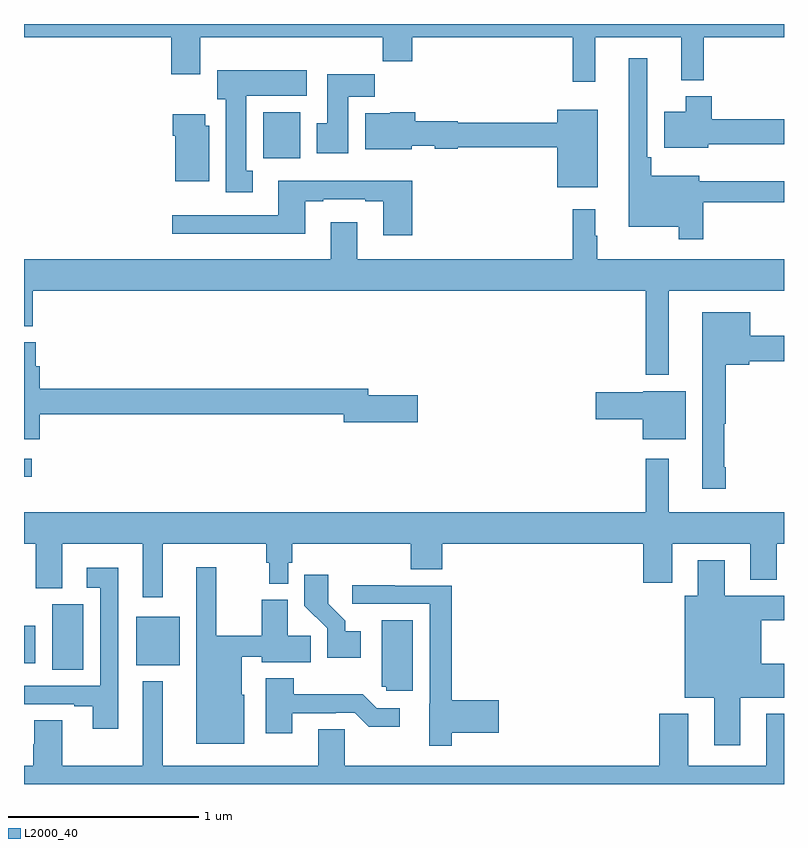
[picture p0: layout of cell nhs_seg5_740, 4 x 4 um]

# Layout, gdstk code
import gdstk
lib = gdstk.Library(unit=1e-6, precision=1e-09)
def R(c, l, rs):  # rectangles x0, y0, x1, y1
    for r in rs: c.add(gdstk.rectangle(r[:2], r[2:], *l))
def P(c, l, *ps):  # polygons
    for p in ps: c.add(gdstk.Polygon(p, *l))
L2000_40 = (2000, 40)

nhs_seg5_740 = lib.new_cell('nhs_seg5_740')
R(nhs_seg5_740, L2000_40, [(157.148,885.4,157.312,885.744), (157.592,885.425,157.819,885.679), (157,885.435,157.06,885.631), (157,886.416,157.042,886.512), (158.258,888.092,158.455,888.334)])
P(nhs_seg5_740, L2000_40, [(160.007,888.728),(160.46,888.728),(160.46,888.503),(160.577,888.503),(160.577,888.728),(161,888.728),(161,888.799),(157,888.799),(157,888.728),(157.775,888.728),(157.775,888.534),(157.927,888.534),(157.927,888.728),(158.887,888.728),(158.887,888.604),(159.044,888.604),(159.044,888.728),(159.889,888.728),(159.889,888.495),(160.007,888.495)],
  [(160.574,887.862),(161,887.862),(161,887.972),(160.555,887.972),(160.555,888.001),(160.301,888.001),(160.301,888.097),(160.281,888.097),(160.281,888.619),(160.184,888.619),(160.184,887.732),(160.446,887.732),(160.446,887.667),(160.574,887.667)],
  [(158.203,888.026),(158.17,888.026),(158.17,888.422),(158.488,888.422),(158.488,888.556),(158.018,888.556),(158.018,888.402),(158.063,888.402),(158.063,887.913),(158.203,887.913)],
  [(158.707,888.416),(158.846,888.416),(158.846,888.535),(158.597,888.535),(158.597,888.276),(158.54,888.276),(158.54,888.12),(158.707,888.12)],
  [(160.602,888.167),(161,888.167),(161,888.297),(160.619,888.297),(160.619,888.418),(160.484,888.418),(160.484,888.337),(160.37,888.337),(160.37,888.149),(160.602,888.149)],
  [(160.021,888.349),(159.806,888.349),(159.806,888.28),(159.282,888.28),(159.282,888.288),(159.059,888.288),(159.059,888.334),(158.928,888.334),(158.928,888.328),(158.795,888.328),(158.795,888.14),(159.042,888.14),(159.042,888.158),(159.162,888.158),(159.162,888.143),(159.282,888.143),(159.282,888.151),(159.806,888.151),(159.806,887.939),(160.021,887.939)],
  [(157.975,888.264),(157.954,888.264),(157.954,888.325),(157.784,888.325),(157.784,888.212),(157.796,888.212),(157.796,887.972),(157.975,887.972)],
  [(159.044,887.974),(158.339,887.974),(158.339,887.793),(157.779,887.793),(157.779,887.696),(158.479,887.696),(158.479,887.865),(158.575,887.865),(158.575,887.877),(158.795,887.877),(158.795,887.865),(158.891,887.865),(158.891,887.688),(159.044,887.688)],
  [(160.393,887.396),(161,887.396),(161,887.56),(160.018,887.56),(160.018,887.684),(160.006,887.684),(160.006,887.824),(159.889,887.824),(159.889,887.56),(158.755,887.56),(158.755,887.755),(158.615,887.755),(158.615,887.56),(157,887.56),(157,887.209),(157.046,887.209),(157.046,887.396),(160.272,887.396),(160.272,886.952),(160.393,886.952)],
  [(160.693,886.465),(160.685,886.465),(160.685,886.694),(160.693,886.694),(160.693,887.006),(160.818,887.006),(160.818,887.024),(161,887.024),(161,887.158),(160.822,887.158),(160.822,887.281),(160.571,887.281),(160.571,886.353),(160.693,886.353)],
  [(157.082,886.744),(158.684,886.744),(158.684,886.702),(159.073,886.702),(159.073,886.844),(158.812,886.844),(158.812,886.88),(157.082,886.88),(157.082,886.998),(157.061,886.998),(157.061,887.124),(157,887.124),(157,886.614),(157.082,886.614)],
  [(160.483,886.867),(160.26,886.867),(160.26,886.862),(160.008,886.862),(160.008,886.72),(160.256,886.72),(160.256,886.613),(160.483,886.613)],
  [(157.729,886.064),(158.275,886.064),(158.275,885.963),(158.29,885.963),(158.29,885.854),(158.391,885.854),(158.391,885.963),(158.411,885.963),(158.411,886.064),(159.035,886.064),(159.035,885.928),(159.2,885.928),(159.2,886.064),(160.259,886.064),(160.259,885.858),(160.411,885.858),(160.411,886.064),(160.823,886.064),(160.823,885.875),(160.963,885.875),(160.963,886.064),(161,886.064),(161,886.228),(160.393,886.228),(160.393,886.51),(160.272,886.51),(160.272,886.228),(157,886.228),(157,886.064),(157.061,886.064),(157.061,885.829),(157.201,885.829),(157.201,886.064),(157.625,886.064),(157.625,885.783),(157.729,885.783)],
  [(160.771,885.254),(161,885.254),(161,885.433),(160.879,885.433),(160.879,885.662),(161,885.662),(161,885.79),(160.687,885.79),(160.687,885.976),(160.547,885.976),(160.547,885.79),(160.478,885.79),(160.478,885.254),(160.634,885.254),(160.634,885.003),(160.771,885.003)],
  [(158.158,885.27),(158.146,885.27),(158.146,885.47),(158.252,885.47),(158.252,885.44),(158.51,885.44),(158.51,885.578),(158.389,885.578),(158.389,885.769),(158.252,885.769),(158.252,885.58),(158.011,885.58),(158.011,885.94),(157.907,885.94),(157.907,885.011),(158.158,885.011)],
  [(157.497,885.937),(157.329,885.937),(157.329,885.831),(157.401,885.831),(157.401,885.315),(157,885.315),(157,885.219),(157.265,885.219),(157.265,885.207),(157.361,885.207),(157.361,885.09),(157.497,885.09)],
  [(158.773,885.604),(158.692,885.604),(158.692,885.659),(158.602,885.749),(158.602,885.901),(158.476,885.901),(158.476,885.738),(158.595,885.619),(158.595,885.464),(158.773,885.464)],
  [(159.251,885.068),(159.499,885.068),(159.499,885.239),(159.251,885.239),(159.251,885.843),(158.951,885.843),(158.951,885.846),(158.727,885.846),(158.727,885.747),(159.135,885.747),(159.135,885.222),(159.134,885.222),(159.134,885),(159.251,885)],
  [(159.046,885.661),(158.882,885.661),(158.882,885.312),(158.907,885.312),(158.907,885.291),(159.046,885.291)],
  [(158.413,885.171),(158.642,885.171),(158.642,885.174),(158.742,885.174),(158.815,885.101),(158.977,885.101),(158.977,885.198),(158.856,885.198),(158.783,885.271),(158.421,885.271),(158.421,885.355),(158.273,885.355),(158.273,885.066),(158.413,885.066)],
  [(160.495,885.169),(160.343,885.169),(160.343,884.896),(158.688,884.896),(158.688,885.086),(158.549,885.086),(158.549,884.896),(157.729,884.896),(157.729,885.34),(157.625,885.34),(157.625,884.896),(157.201,884.896),(157.201,885.134),(157.054,885.134),(157.054,885.009),(157.049,885.009),(157.049,884.896),(157,884.896),(157,884.799),(161,884.799),(161,885.169),(160.907,885.169),(160.907,884.896),(160.495,884.896)])

lib.write_gds('nhs_seg5_740.gds')
